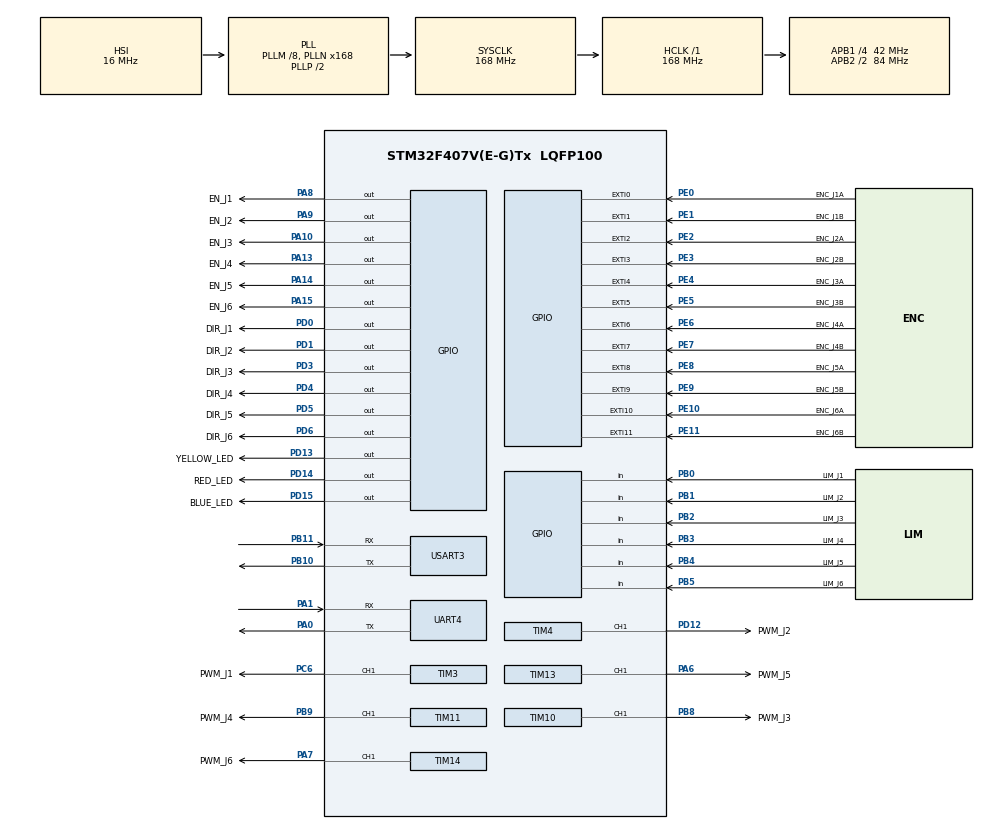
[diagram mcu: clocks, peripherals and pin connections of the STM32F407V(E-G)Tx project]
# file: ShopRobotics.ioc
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PD12.GPIO_Label=PWM_J2
TIM2.Channel-Output\ Compare1\ No\ Output=TIM_CHANNEL_1
PB10.Mode=Asynchronous
PA14.GPIO_Label=EN_J5
TIM10.ClockDivision=TIM_CLOCKDIVISION_DIV1
PC6.GPIO_Label=PWM_J1
PA6.GPIO_Label=PWM_J5
PD6.GPIO_Label=DIR_J6
PE6.GPIO_Label=ENC_J4A
RCC.SYSCLKSource=RCC_SYSCLKSOURCE_PLLCLK
NVIC.EXTI1_IRQn=true\:0\:0\:false\:false\:true\:true\:true
SH.S_TIM14_CH1.0=TIM14_CH1,PWM Generation1 CH1
PD4.Signal=GPIO_Output
RCC.APB2TimFreq_Value=168000000
VP_TIM10_VS_ClockSourceINT.Mode=Enable_Timer
PD0.Signal=GPIO_Output
PE5.Signal=GPXTI5
PE1.Signal=GPXTI1
NVIC.EXTI15_10_IRQn=true\:0\:0\:false\:false\:true\:true\:true
PB2.Signal=GPIO_Input
TIM10.Channel=TIM_CHANNEL_1
PD1.GPIO_Label=DIR_J2
PE8.GPIO_ModeDefaultEXTI=GPIO_MODE_IT_RISING_FALLING
PE9.Signal=GPXTI9
PB1.GPIO_Label=LIM_J2
PE4.GPIO_Label=ENC_J3A
PE2.Signal=GPXTI2
PD14.GPIO_PuPd=GPIO_PULLUP
PA8.Signal=GPIO_Output
PE10.Signal=GPXTI10
TIM11.ClockDivision=TIM_CLOCKDIVISION_DIV1
Mcu.Package=LQFP100
PB9.Signal=S_TIM11_CH1
TIM2.Prescaler=84
PB1.Signal=GPIO_Input
PD12.Signal=S_TIM4_CH1
PA10.Signal=GPIO_Output
PB9.GPIO_PuPd=GPIO_PULLUP
PC6.GPIO_PuPd=GPIO_PULLUP
RCC.APB2CLKDivider=RCC_HCLK_DIV2
NVIC.EXTI2_IRQn=true\:0\:0\:false\:false\:true\:true\:true
SH.S_TIM4_CH1.0=TIM4_CH1,PWM Generation1 CH1
RCC.APB1TimFreq_Value=84000000
VP_TIM14_VS_ClockSourceINT.Mode=Enable_Timer
PA6.GPIO_Speed=GPIO_SPEED_FREQ_HIGH
PE10.GPIO_Label=ENC_J6A
PC6.GPIO_Speed=GPIO_SPEED_FREQ_HIGH
PD15.Signal=GPIO_Output
NVIC.UART4_IRQn=true\:0\:0\:false\:false\:true\:true\:true
NVIC.EXTI4_IRQn=true\:0\:0\:false\:false\:true\:true\:true
TIM3.AutoReloadPreload=TIM_AUTORELOAD_PRELOAD_ENABLE
PA9.GPIO_Label=EN_J2
PD3.Signal=GPIO_Output
PB8.GPIO_PuPd=GPIO_PULLUP
PC6.Signal=S_TIM3_CH1
PD1.Signal=GPIO_Output
TIM11.Prescaler=128
RCC.APB1CLKDivider=RCC_HCLK_DIV4
UART4.VirtualMode=Asynchronous
PA0-WKUP.Signal=UART4_TX
PA0-WKUP.Mode=Asynchronous
PB8.GPIO_Label=PWM_J3
PE10.GPIO_ModeDefaultEXTI=GPIO_MODE_IT_RISING_FALLING
PA8.GPIO_Label=EN_J1
PB11.Mode=Asynchronous
TIM13.Channel=TIM_CHANNEL_1
PE8.GPIO_Label=ENC_J5A
PA9.Signal=GPIO_Output
PE9.GPIO_Label=ENC_J5B
PB10.Signal=USART3_TX
PE1.GPIO_Label=ENC_J1B
PA7.GPIO_Speed=GPIO_SPEED_FREQ_HIGH
VP_TIM13_VS_ClockSourceINT.Mode=Enable_Timer
PA1.Mode=Asynchronous
TIM14.Channel=TIM_CHANNEL_1
PB4.GPIO_Label=LIM_J5
TIM13.Prescaler=64
PE8.Signal=GPXTI8
TIM14.Prescaler=64
PB5.Signal=GPIO_Input
PE5.GPIO_Label=ENC_J3B
ProjectManager.HeapSize=0x200
VP_TIM4_VS_ClockSourceINT.Mode=Internal
NVIC.PriorityGroup=NVIC_PRIORITYGROUP_4
PE3.Signal=GPXTI3
TIM2.AutoReloadPreload=TIM_AUTORELOAD_PRELOAD_ENABLE
PE9.GPIO_ModeDefaultEXTI=GPIO_MODE_IT_RISING_FALLING
PB0.Signal=GPIO_Input
Mcu.Family=STM32F4
NVIC.USART3_IRQn=true\:0\:0\:false\:false\:true\:true\:true
RCC.CortexFreq_Value=168000000
TIM14.AutoReloadPreload=TIM_AUTORELOAD_PRELOAD_ENABLE
PE11.GPIO_Label=ENC_J6B
NVIC.EXTI3_IRQn=true\:0\:0\:false\:false\:true\:true\:true
PD0.GPIO_Label=DIR_J1
PB0.GPIO_Label=LIM_J1
PB11.Signal=USART3_RX
TIM13.AutoReloadPreload=TIM_AUTORELOAD_PRELOAD_ENABLE
SH.S_TIM13_CH1.0=TIM13_CH1,PWM Generation1 CH1
ProjectManager.StackSize=0x400
PD13.Signal=GPIO_Output
PA15.GPIO_Label=EN_J6
RCC.HCLKFreq_Value=168000000
RCC.AHBFreq_Value=168000000
TIM3.Channel-PWM\ Generation1\ CH1=TIM_CHANNEL_1
TIM3.ClockDivision=TIM_CLOCKDIVISION_DIV1
TIM10.AutoReloadPreload=TIM_AUTORELOAD_PRELOAD_ENABLE
RCC.HSE_VALUE=25000000
VP_TIM2_VS_no_output1.Mode=Output Compare1 No Output
PA6.GPIO_PuPd=GPIO_PULLUP
TIM3.Prescaler=64
PA10.GPIO_Label=EN_J3
SH.S_TIM3_CH1.0=TIM3_CH1,PWM Generation1 CH1
PE4.Signal=GPXTI4
PD13.GPIO_Label=YELLOW_LED
PA6.Signal=S_TIM13_CH1
SH.S_TIM10_CH1.0=TIM10_CH1,PWM Generation1 CH1
PD5.GPIO_Label=DIR_J5
PD15.GPIO_PuPd=GPIO_PULLUP
PA15.Signal=GPIO_Output
PE0.GPIO_Label=ENC_J1A
PB9.GPIO_Speed=GPIO_SPEED_FREQ_HIGH
PB5.GPIO_Label=LIM_J6
PD3.GPIO_Label=DIR_J3
PE7.Signal=GPXTI7
PD6.Signal=GPIO_Output
SH.S_TIM11_CH1.0=TIM11_CH1,PWM Generation1 CH1
PE2.GPIO_Label=ENC_J2A
VP_TIM3_VS_ClockSourceINT.Mode=Internal
PB4.Signal=GPIO_Input
PB3.GPIO_Label=LIM_J4
TIM4.Channel-PWM\ Generation1\ CH1=TIM_CHANNEL_1
TIM10.Prescaler=128
TIM4.AutoReloadPreload=TIM_AUTORELOAD_PRELOAD_ENABLE
PD12.GPIO_Speed=GPIO_SPEED_FREQ_HIGH
PD15.GPIO_Label=BLUE_LED
PB9.GPIO_Label=PWM_J4
PD5.Signal=GPIO_Output
VP_TIM11_VS_ClockSourceINT.Mode=Enable_Timer
PA13.Signal=GPIO_Output
PE11.GPIO_ModeDefaultEXTI=GPIO_MODE_IT_RISING_FALLING
ProjectManager.TargetToolchain=STM32CubeIDE
TIM4.Prescaler=64
PE11.Signal=GPXTI11
RCC.LSE_VALUE=32768
PA7.GPIO_PuPd=GPIO_PULLUP
PA1.Signal=UART4_RX
board=custom
RCC.VCOOutputFreq_Value=336000000
RCC.APB2Freq_Value=84000000
VP_TIM2_VS_ClockSourceINT.Mode=Internal
PD4.GPIO_Label=DIR_J4
PE7.GPIO_ModeDefaultEXTI=GPIO_MODE_IT_RISING_FALLING
PD13.GPIO_PuPd=GPIO_PULLUP
PD14.GPIO_Label=RED_LED
PE6.Signal=GPXTI6
Mcu.Name=STM32F407V(E-G)Tx
PE0.Signal=GPXTI0
PE7.GPIO_Label=ENC_J4B
PA13.GPIO_Label=EN_J4
PD14.Signal=GPIO_Output
RCC.48MHZClocksFreq_Value=84000000
PB3.Signal=GPIO_Input
RCC.SYSCLKFreq_VALUE=168000000
PA7.GPIO_Label=PWM_J6
USART3.VirtualMode=VM_ASYNC
NVIC.EXTI9_5_IRQn=true\:0\:0\:false\:false\:true\:true\:true
PA14.Signal=GPIO_Output
PB2.GPIO_Label=LIM_J3
RCC.HSI_VALUE=16000000
TIM11.AutoReloadPreload=TIM_AUTORELOAD_PRELOAD_ENABLE
RCC.PLLM=8
RCC.PLLN=168
TIM11.Channel=TIM_CHANNEL_1
PB8.Signal=S_TIM10_CH1
PE3.GPIO_Label=ENC_J2B
RCC.APB1Freq_Value=42000000
PB8.GPIO_Speed=GPIO_SPEED_FREQ_HIGH
PD12.GPIO_PuPd=GPIO_PULLUP
PA7.Signal=S_TIM14_CH1

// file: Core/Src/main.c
/* USER CODE BEGIN Header */
/**
  ******************************************************************************
  * @file           : main.c
  * @brief          : Main program body
  ******************************************************************************
  * @attention
  *
  * <h2><center>&copy; Copyright (c) 2022 STMicroelectronics.
  * All rights reserved.</center></h2>
  *
  * This software component is licensed by ST under BSD 3-Clause license,
  * the "License"; You may not use this file except in compliance with the
  * License. You may obtain a copy of the License at:
  *                        opensource.org/licenses/BSD-3-Clause
  *
  ******************************************************************************
  */
/* USER CODE END Header */
#include "main.h"

/* USER CODE BEGIN Includes */
#include <stdio.h>
#include <stdbool.h>

#include  <errno.h> // Used in _write
#include  <sys/unistd.h> // STDOUT_FILENO, STDERR_FILENO
#include "hw.h"
#include "log.h"
#include "intent.h"
#include "comms.h"
/* USER CODE END Includes */

TIM_HandleTypeDef htim2;
TIM_HandleTypeDef htim3;
TIM_HandleTypeDef htim4;
TIM_HandleTypeDef htim10;
TIM_HandleTypeDef htim11;
TIM_HandleTypeDef htim13;
TIM_HandleTypeDef htim14;

UART_HandleTypeDef huart4;
UART_HandleTypeDef huart3;

void SystemClock_Config(void);
static void MX_GPIO_Init(void);
static void MX_TIM3_Init(void);
static void MX_TIM4_Init(void);
static void MX_TIM10_Init(void);
static void MX_TIM11_Init(void);
static void MX_TIM13_Init(void);
static void MX_TIM14_Init(void);
static void MX_UART4_Init(void);
static void MX_TIM2_Init(void);
static void MX_USART3_UART_Init(void);
/* USER CODE BEGIN PFP */

// Overrides the weak _write definition in syscalls.c to allow for printf() to uart4.
int _write(int file, char *data, int len) {
   if ((file != STDOUT_FILENO) && (file != STDERR_FILENO)) {
      errno = EBADF;
      return -1;
   }

   // arbitrary timeout 1000
   // This could be done async, but would be more difficult. Hold off until necessary.
   HAL_StatusTypeDef status = HAL_UART_Transmit(&huart4, (uint8_t*)data, len, 1000);

   // return # of bytes written - as best we can tell
   return (status == HAL_OK ? len : 0);
}

#define DIR_PORT GPIOD
const uint16_t DIR_PINS[] = {
		DIR_J1_Pin,
		DIR_J2_Pin,
		DIR_J3_Pin,
		DIR_J4_Pin,
		DIR_J5_Pin,
		DIR_J6_Pin
};
#define LIMIT_PORT GPIOB
const uint16_t LIMIT_PINS[] = {
		LIM_J1_Pin,
		LIM_J2_Pin,
		LIM_J3_Pin,
		LIM_J4_Pin,
		LIM_J5_Pin,
		LIM_J6_Pin
};
#define ENC_PORT GPIOE
const uint16_t ENCA_PINS[] = {
	ENC_J1A_Pin,
	ENC_J2A_Pin,
	ENC_J3A_Pin,
	ENC_J4A_Pin,
	ENC_J5A_Pin,
	ENC_J6A_Pin
};
const uint16_t ENCB_PINS[] = {
	ENC_J1B_Pin,
	ENC_J2B_Pin,
	ENC_J3B_Pin,
	ENC_J4B_Pin,
	ENC_J5B_Pin,
	ENC_J6B_Pin
};
#define EN_PORT GPIOA
const uint16_t EN_PINS[] = {
	EN_J1_Pin,
	EN_J2_Pin,
	EN_J3_Pin,
	EN_J4_Pin,
	EN_J5_Pin,
	EN_J6_Pin,
};

// See https://microcontrollerslab.com/led-blinking-tutorial-stm32f4-discovery-board-gpio-hal-library/
#define LED_PORT GPIOD

void hw_set_dir_and_pwm(uint8_t j, int16_t hz) {
  TIM_HandleTypeDef tmr;
  switch(j) {
    case 0:
      tmr = htim3; // PWM_J1_Pin (500hz)
      break;
    case 1:
      tmr = htim4; // PWM_J2_Pin (600hz)
      break;
    case 2:
      tmr = htim10; // PWM_J3_Pin 0.706ms (700hz)
      break;
    case 3:
      tmr = htim11; // PWM_J4_Pin (0.618ms / 800hz)
      break;
    case 4:
      tmr = htim13; // PWM_J5_Pin (900hz)
      break;
    case 5:
      tmr = htim14; // PWM_J6_Pin (1000hz)
      break;
    default:
      return;
  }
  HAL_TIM_PWM_Stop(&tmr, TIM_CHANNEL_1);
  HAL_GPIO_WritePin(DIR_PORT, DIR_PINS[j], (hz > 0) ? GPIO_PIN_SET : GPIO_PIN_RESET);
  HAL_GPIO_WritePin(EN_PORT, EN_PINS[j], (hz == 0) ? GPIO_PIN_SET : GPIO_PIN_RESET); // Active low
  if (hz < 0) {
    hz = -hz;
  }
  if (hz != 0) {

    //tmr.Instance->PSC = TIM_PSC; // handled on init
    // (PSC+1)*(ARR+1) = TIMclk/Updatefrequency
    uint16_t arr = (TIM_CLK/hz)/(TIM_PSC+1) - 1;
    __HAL_TIM_SET_AUTORELOAD(&tmr, arr);
    __HAL_TIM_SET_COMPARE(&tmr, TIM_CHANNEL_1, arr/2); // 50% duty cycle
    HAL_TIM_PWM_Start(&tmr, TIM_CHANNEL_1);
  }
}

#define BUFLEN 128
uint8_t uart3_out[BUFLEN];
bool uart3_sending = false;
uint8_t* hw_uart_get_write_buffer() {
  return uart3_out;
}
bool hw_uart_send(uint8_t len) {
  if (BUFLEN < len || uart3_sending) {
    return false;
  }
  uart3_sending = true;
  HAL_UART_Transmit_IT(&huart3, uart3_out, len);
  // HAL_UART_Transmit(&huart3, uart3_out, len, 200);
  //uart3_sending = false;
  return true;
}

bool hw_uart_busy() {
  return uart3_sending;
}

void HAL_UART_TxCpltCallback(UART_HandleTypeDef *huart) {
  if (huart == &huart3) {
    uart3_sending = false;
  }
}

#define PACKET_HEADER_SZ 2
#define UART3_FRAGMENT_LEN ((INTENT_PACKET_SZ+PACKET_HEADER_SZ)/4)
uint8_t uart3_recv_buf[2*INTENT_PACKET_SZ+PACKET_HEADER_SZ];
uint8_t uart3_fragment_buf[UART3_FRAGMENT_LEN];
uint8_t hw_idx = 0;
uint8_t hw_readlen = 0;

void uart3_listen() {
	HAL_UART_Receive_IT(&huart3, uart3_fragment_buf, UART3_FRAGMENT_LEN);
}
static int ncallbacks = 0;
void HAL_UART_RxCpltCallback(UART_HandleTypeDef *huart) {
  ncallbacks++;
  HAL_GPIO_TogglePin(LED_PORT, BLUE_LED_Pin);
  uint8_t c;
  for (int f = 0; f < UART3_FRAGMENT_LEN; f++) {
    c = uart3_fragment_buf[f];
    if (c == PACKET_START_BYTE) {
      // Magic byte, next byte is length
      hw_idx=0;
      hw_readlen=0;
      continue;
    }
    if (hw_idx == -1) {
      // Skip other bytes until we've processed a start byte
      continue;
    }
    if (hw_readlen == 0) {
      // NOTE: Max length is 255 characters
      hw_readlen = c;
      if (hw_readlen > INTENT_PACKET_SZ+PACKET_HEADER_SZ) {
    	hw_idx=-1;
      }
      continue;
    }
    uart3_recv_buf[hw_idx++] = c;
    if (hw_idx == hw_readlen) {
      on_message(uart3_recv_buf, hw_idx);
      hw_idx = -1;
    } else if (hw_idx >= BUFLEN) {
      hw_idx = -1;
      // TODO overrun warning indicator
    }
  }
  uart3_listen();
}

// See https://electronics.stackexchange.com/a/99949
/*
 *               CW --->
 * A (IRQ  )  ¯|___|¯¯¯¯|___|¯¯¯¯
 * Interrupts  ^   ^    ^   ^
 * B (IRQ   ) ¯¯¯|___|¯¯¯¯¯|___|¯
 * Interrupts    ^   ^     ^   ^
                  CCW <---
 */
const int8_t encoder_add_sub[] = {
		 0, // 00 -> 00, no-op
		 1, // 00 -> 01, forwards
		-1, // 00 -> 10, backwards
		 0, // 00 -> 11, illegal (2x transition)
		-1, // 01 -> 00, backwards
		 0, // 01 -> 01, no-op
		 0, // 01 -> 10, illegal (2x transition)
		 1, // 01 -> 11, forwards
		 1, // 10 -> 00, forwards
		 0, // 10 -> 01, illegal (2x transition)
		 0, // 10 -> 10, no-op
		-1, // 10 -> 11, backwards
		 0, // 11 -> 00, illegal (2x transition)
		-1, // 11 -> 01, backwards
		 1, // 11 -> 10, forwards
		 0, // 11 -> 11, no-op
};
uint16_t encoder_pos[NUM_J];
uint8_t encoder_idx[NUM_J];
void HAL_GPIO_EXTI_Callback(uint16_t GPIO_Pin) {
	uint8_t j = 0;
	uint16_t data = ENC_PORT->IDR;
	uint16_t pin1;
	uint16_t pin2;
	switch (GPIO_Pin) {
	case ENC_J1A_Pin:
	case ENC_J1B_Pin:
		j = 0; pin1 = ENC_J1A_Pin; pin2 = ENC_J1B_Pin;
		break;
	case ENC_J2A_Pin:
	case ENC_J2B_Pin:
		j = 1; pin1 = ENC_J2A_Pin; pin2 = ENC_J2B_Pin;
		break;
	case ENC_J3A_Pin:
	case ENC_J3B_Pin:
		j = 2; pin1 = ENC_J3A_Pin; pin2 = ENC_J3B_Pin;
		break;
	case ENC_J4A_Pin:
	case ENC_J4B_Pin:
		j = 3; pin1 = ENC_J4A_Pin; pin2 = ENC_J4B_Pin;
		break;
	case ENC_J5A_Pin:
	case ENC_J5B_Pin:
		j = 4; pin1 = ENC_J5A_Pin; pin2 = ENC_J5B_Pin;
		break;
	case ENC_J6A_Pin:
	case ENC_J6B_Pin:
		j = 5; pin1 = ENC_J6A_Pin; pin2 = ENC_J6B_Pin;
		break;
	default:
		return;
	}
	encoder_idx[j] = ((encoder_idx[j]<<2) & 0x0F) + ((!!(data & pin1)) << 1) + (!!(data & pin2));
	encoder_pos[j]= encoder_pos[j]+encoder_add_sub[encoder_idx[j]];
}
uint16_t hw_enc_read(uint8_t j) {
	return encoder_pos[j];
}

uint8_t hw_limits_read() {
  uint16_t data = LIMIT_PORT->IDR;
  uint8_t result = 0;
  for (int j = 0; j < NUM_J; j++) {
	  result |= (!!(data & LIMIT_PINS[j])) << j;
  }
  return result;
}

uint8_t last_limit = 0;
void check_limits() {
	uint8_t limits = hw_limits_read();
	if (limits != last_limit) {
		on_limits_changed();
	}
}

// Note that the micros value is NOT uint64_t - overflows every ~71 minutes
uint32_t hw_micros() {
  return TIM2->CNT;
}

void setup();
void loop();

#define TEST_ROUTINE 1
void run_test_routine(int step) {
	// Set PWM outputs (different values to show all are configured)
	int dir = 0;
	if (step == 1) dir = 1;
	else if (step == 3) dir = -1;

	for (int j = 0; j < NUM_J; j++) {
		hw_set_dir_and_pwm(j, dir * (500 + 100*j));
	}

	// Read limits
	uint8_t limits = hw_limits_read();

	// Read encoders
	uint16_t enc_data = ENC_PORT->IDR;
	char encA[NUM_J+1];
	char encB[NUM_J+1];
	char lim[NUM_J+1];
	for (int j = 0; j < NUM_J; j++) {
		encA[j] = (enc_data & ENCA_PINS[j]) ? '1' : '0';
		encB[j] = (enc_data & ENCB_PINS[j]) ? '1' : '0';
		lim[j] = (limits & (1 << j)) ? '1' : '0';
	}
	encA[NUM_J] = '\0';
	encB[NUM_J] = '\0';
	lim[NUM_J] = '\0';
	printf("TEST%d LIM=%s ENCA=%s ENCB=%s\r\n", (dir > 0) ? 1 : 0, lim, encA, encB);
}

/* USER CODE END PFP */

/* USER CODE BEGIN 0 */

uint8_t Test2[128]; //Data to send

/* USER CODE END 0 */

int main(void)
{

  /* MCU Configuration--------------------------------------------------------*/

  /* Reset of all peripherals, Initializes the Flash interface and the Systick. */
  HAL_Init();

  /* Configure the system clock */
  SystemClock_Config();

  /* Initialize all configured peripherals */
  MX_GPIO_Init();
  MX_TIM3_Init();
  MX_TIM4_Init();
  MX_TIM10_Init();
  MX_TIM11_Init();
  MX_TIM13_Init();
  MX_TIM14_Init();
  MX_UART4_Init();
  MX_TIM2_Init();
  MX_USART3_UART_Init();
  /* USER CODE BEGIN 2 */

  // Start our microsecond counter
  HAL_TIM_Base_Start(&htim2);

  // Begin interrupt-based uart read
  uart3_listen();

  // Continue with regular initialization
  setup();
#ifdef TEST_ROUTINE
  int test_step = 1;
#endif

  /* USER CODE END 2 */

  /* Infinite loop */
  /* USER CODE BEGIN WHILE */
  while (1) {

#ifdef TEST_ROUTINE
	  test_step = (test_step + 1) % 4;
	run_test_routine(test_step);
	HAL_Delay(500);
#else
	check_limits();
	loop();
#endif

    /* USER CODE END WHILE */

  }
}

void SystemClock_Config(void)
{
  RCC_OscInitTypeDef RCC_OscInitStruct = {0};
  RCC_ClkInitTypeDef RCC_ClkInitStruct = {0};

  /** Configure the main internal regulator output voltage
  */
  __HAL_RCC_PWR_CLK_ENABLE();
  __HAL_PWR_VOLTAGESCALING_CONFIG(PWR_REGULATOR_VOLTAGE_SCALE1);
  /** Initializes the RCC Oscillators according to the specified parameters
  * in the RCC_OscInitTypeDef structure.
  */
  RCC_OscInitStruct.OscillatorType = RCC_OSCILLATORTYPE_HSI;
  RCC_OscInitStruct.HSIState = RCC_HSI_ON;
  RCC_OscInitStruct.HSICalibrationValue = RCC_HSICALIBRATION_DEFAULT;
  RCC_OscInitStruct.PLL.PLLState = RCC_PLL_ON;
  RCC_OscInitStruct.PLL.PLLSource = RCC_PLLSOURCE_HSI;
  RCC_OscInitStruct.PLL.PLLM = 8;
  RCC_OscInitStruct.PLL.PLLN = 168;
  RCC_OscInitStruct.PLL.PLLP = RCC_PLLP_DIV2;
  RCC_OscInitStruct.PLL.PLLQ = 4;
  if (HAL_RCC_OscConfig(&RCC_OscInitStruct) != HAL_OK)
  {
    Error_Handler();
  }
  /** Initializes the CPU, AHB and APB buses clocks
  */
  RCC_ClkInitStruct.ClockType = RCC_CLOCKTYPE_HCLK|RCC_CLOCKTYPE_SYSCLK
                              |RCC_CLOCKTYPE_PCLK1|RCC_CLOCKTYPE_PCLK2;
  RCC_ClkInitStruct.SYSCLKSource = RCC_SYSCLKSOURCE_PLLCLK;
  RCC_ClkInitStruct.AHBCLKDivider = RCC_SYSCLK_DIV1;
  RCC_ClkInitStruct.APB1CLKDivider = RCC_HCLK_DIV4;
  RCC_ClkInitStruct.APB2CLKDivider = RCC_HCLK_DIV2;

  if (HAL_RCC_ClockConfig(&RCC_ClkInitStruct, FLASH_LATENCY_5) != HAL_OK)
  {
    Error_Handler();
  }
}

static void MX_TIM2_Init(void)
{

  TIM_ClockConfigTypeDef sClockSourceConfig = {0};
  TIM_MasterConfigTypeDef sMasterConfig = {0};
  TIM_OC_InitTypeDef sConfigOC = {0};

  htim2.Instance = TIM2;
  htim2.Init.Prescaler = 84;
  htim2.Init.CounterMode = TIM_COUNTERMODE_UP;
  htim2.Init.Period = 4294967295;
  htim2.Init.ClockDivision = TIM_CLOCKDIVISION_DIV1;
  htim2.Init.AutoReloadPreload = TIM_AUTORELOAD_PRELOAD_ENABLE;
  if (HAL_TIM_Base_Init(&htim2) != HAL_OK)
  {
    Error_Handler();
  }
  sClockSourceConfig.ClockSource = TIM_CLOCKSOURCE_INTERNAL;
  if (HAL_TIM_ConfigClockSource(&htim2, &sClockSourceConfig) != HAL_OK)
  {
    Error_Handler();
  }
  if (HAL_TIM_OC_Init(&htim2) != HAL_OK)
  {
    Error_Handler();
  }
  sMasterConfig.MasterOutputTrigger = TIM_TRGO_RESET;
  sMasterConfig.MasterSlaveMode = TIM_MASTERSLAVEMODE_DISABLE;
  if (HAL_TIMEx_MasterConfigSynchronization(&htim2, &sMasterConfig) != HAL_OK)
  {
    Error_Handler();
  }
  sConfigOC.OCMode = TIM_OCMODE_TIMING;
  sConfigOC.Pulse = 0;
  sConfigOC.OCPolarity = TIM_OCPOLARITY_HIGH;
  sConfigOC.OCFastMode = TIM_OCFAST_DISABLE;
  if (HAL_TIM_OC_ConfigChannel(&htim2, &sConfigOC, TIM_CHANNEL_1) != HAL_OK)
  {
    Error_Handler();
  }

}

static void MX_TIM3_Init(void)
{

  TIM_ClockConfigTypeDef sClockSourceConfig = {0};
  TIM_MasterConfigTypeDef sMasterConfig = {0};
  TIM_OC_InitTypeDef sConfigOC = {0};

  htim3.Instance = TIM3;
  htim3.Init.Prescaler = 64;
  htim3.Init.CounterMode = TIM_COUNTERMODE_UP;
  htim3.Init.Period = 65535;
  htim3.Init.ClockDivision = TIM_CLOCKDIVISION_DIV1;
  htim3.Init.AutoReloadPreload = TIM_AUTORELOAD_PRELOAD_ENABLE;
  if (HAL_TIM_Base_Init(&htim3) != HAL_OK)
  {
    Error_Handler();
  }
  sClockSourceConfig.ClockSource = TIM_CLOCKSOURCE_INTERNAL;
  if (HAL_TIM_ConfigClockSource(&htim3, &sClockSourceConfig) != HAL_OK)
  {
    Error_Handler();
  }
  if (HAL_TIM_PWM_Init(&htim3) != HAL_OK)
  {
    Error_Handler();
  }
  sMasterConfig.MasterOutputTrigger = TIM_TRGO_RESET;
  sMasterConfig.MasterSlaveMode = TIM_MASTERSLAVEMODE_DISABLE;
  if (HAL_TIMEx_MasterConfigSynchronization(&htim3, &sMasterConfig) != HAL_OK)
  {
    Error_Handler();
  }
  sConfigOC.OCMode = TIM_OCMODE_PWM1;
  sConfigOC.Pulse = 0;
  sConfigOC.OCPolarity = TIM_OCPOLARITY_HIGH;
  sConfigOC.OCFastMode = TIM_OCFAST_DISABLE;
  if (HAL_TIM_PWM_ConfigChannel(&htim3, &sConfigOC, TIM_CHANNEL_1) != HAL_OK)
  {
    Error_Handler();
  }
  HAL_TIM_MspPostInit(&htim3);

}

static void MX_TIM4_Init(void)
{

  TIM_ClockConfigTypeDef sClockSourceConfig = {0};
  TIM_MasterConfigTypeDef sMasterConfig = {0};
  TIM_OC_InitTypeDef sConfigOC = {0};

  htim4.Instance = TIM4;
  htim4.Init.Prescaler = 64;
  htim4.Init.CounterMode = TIM_COUNTERMODE_UP;
  htim4.Init.Period = 65535;
  htim4.Init.ClockDivision = TIM_CLOCKDIVISION_DIV1;
  htim4.Init.AutoReloadPreload = TIM_AUTORELOAD_PRELOAD_ENABLE;
  if (HAL_TIM_Base_Init(&htim4) != HAL_OK)
  {
    Error_Handler();
  }
  sClockSourceConfig.ClockSource = TIM_CLOCKSOURCE_INTERNAL;
  if (HAL_TIM_ConfigClockSource(&htim4, &sClockSourceConfig) != HAL_OK)
  {
    Error_Handler();
  }
  if (HAL_TIM_PWM_Init(&htim4) != HAL_OK)
  {
    Error_Handler();
  }
  sMasterConfig.MasterOutputTrigger = TIM_TRGO_RESET;
  sMasterConfig.MasterSlaveMode = TIM_MASTERSLAVEMODE_DISABLE;
  if (HAL_TIMEx_MasterConfigSynchronization(&htim4, &sMasterConfig) != HAL_OK)
  {
    Error_Handler();
  }
  sConfigOC.OCMode = TIM_OCMODE_PWM1;
  sConfigOC.Pulse = 0;
  sConfigOC.OCPolarity = TIM_OCPOLARITY_HIGH;
  sConfigOC.OCFastMode = TIM_OCFAST_DISABLE;
  if (HAL_TIM_PWM_ConfigChannel(&htim4, &sConfigOC, TIM_CHANNEL_1) != HAL_OK)
  {
    Error_Handler();
  }
  HAL_TIM_MspPostInit(&htim4);

}

static void MX_TIM10_Init(void)
{

  TIM_OC_InitTypeDef sConfigOC = {0};

  htim10.Instance = TIM10;
  htim10.Init.Prescaler = 128;
  htim10.Init.CounterMode = TIM_COUNTERMODE_UP;
  htim10.Init.Period = 65535;
  htim10.Init.ClockDivision = TIM_CLOCKDIVISION_DIV1;
  htim10.Init.AutoReloadPreload = TIM_AUTORELOAD_PRELOAD_ENABLE;
  if (HAL_TIM_Base_Init(&htim10) != HAL_OK)
  {
    Error_Handler();
  }
  if (HAL_TIM_PWM_Init(&htim10) != HAL_OK)
  {
    Error_Handler();
  }
  sConfigOC.OCMode = TIM_OCMODE_PWM1;
  sConfigOC.Pulse = 0;
  sConfigOC.OCPolarity = TIM_OCPOLARITY_HIGH;
  sConfigOC.OCFastMode = TIM_OCFAST_DISABLE;
  if (HAL_TIM_PWM_ConfigChannel(&htim10, &sConfigOC, TIM_CHANNEL_1) != HAL_OK)
  {
    Error_Handler();
  }
  HAL_TIM_MspPostInit(&htim10);

}

static void MX_TIM11_Init(void)
{

  TIM_OC_InitTypeDef sConfigOC = {0};

  htim11.Instance = TIM11;
  htim11.Init.Prescaler = 128;
  htim11.Init.CounterMode = TIM_COUNTERMODE_UP;
  htim11.Init.Period = 65535;
  htim11.Init.ClockDivision = TIM_CLOCKDIVISION_DIV1;
  htim11.Init.AutoReloadPreload = TIM_AUTORELOAD_PRELOAD_ENABLE;
  if (HAL_TIM_Base_Init(&htim11) != HAL_OK)
  {
    Error_Handler();
  }
  if (HAL_TIM_PWM_Init(&htim11) != HAL_OK)
  {
    Error_Handler();
  }
  sConfigOC.OCMode = TIM_OCMODE_PWM1;
  sConfigOC.Pulse = 0;
  sConfigOC.OCPolarity = TIM_OCPOLARITY_HIGH;
  sConfigOC.OCFastMode = TIM_OCFAST_DISABLE;
  if (HAL_TIM_PWM_ConfigChannel(&htim11, &sConfigOC, TIM_CHANNEL_1) != HAL_OK)
  {
    Error_Handler();
  }
  HAL_TIM_MspPostInit(&htim11);

}

static void MX_TIM13_Init(void)
{

  TIM_OC_InitTypeDef sConfigOC = {0};

  htim13.Instance = TIM13;
  htim13.Init.Prescaler = 64;
  htim13.Init.CounterMode = TIM_COUNTERMODE_UP;
  htim13.Init.Period = 65535;
  htim13.Init.ClockDivision = TIM_CLOCKDIVISION_DIV1;
  htim13.Init.AutoReloadPreload = TIM_AUTORELOAD_PRELOAD_ENABLE;
  if (HAL_TIM_Base_Init(&htim13) != HAL_OK)
  {
    Error_Handler();
  }
  if (HAL_TIM_PWM_Init(&htim13) != HAL_OK)
  {
    Error_Handler();
  }
  sConfigOC.OCMode = TIM_OCMODE_PWM1;
  sConfigOC.Pulse = 0;
  sConfigOC.OCPolarity = TIM_OCPOLARITY_HIGH;
  sConfigOC.OCFastMode = TIM_OCFAST_DISABLE;
  if (HAL_TIM_PWM_ConfigChannel(&htim13, &sConfigOC, TIM_CHANNEL_1) != HAL_OK)
  {
    Error_Handler();
  }
  HAL_TIM_MspPostInit(&htim13);

}

static void MX_TIM14_Init(void)
{

  TIM_OC_InitTypeDef sConfigOC = {0};

  htim14.Instance = TIM14;
  htim14.Init.Prescaler = 64;
  htim14.Init.CounterMode = TIM_COUNTERMODE_UP;
  htim14.Init.Period = 65535;
  htim14.Init.ClockDivision = TIM_CLOCKDIVISION_DIV1;
  htim14.Init.AutoReloadPreload = TIM_AUTORELOAD_PRELOAD_ENABLE;
  if (HAL_TIM_Base_Init(&htim14) != HAL_OK)
  {
    Error_Handler();
  }
  if (HAL_TIM_PWM_Init(&htim14) != HAL_OK)
  {
    Error_Handler();
  }
  sConfigOC.OCMode = TIM_OCMODE_PWM1;
  sConfigOC.Pulse = 0;
  sConfigOC.OCPolarity = TIM_OCPOLARITY_HIGH;
  sConfigOC.OCFastMode = TIM_OCFAST_DISABLE;
  if (HAL_TIM_PWM_ConfigChannel(&htim14, &sConfigOC, TIM_CHANNEL_1) != HAL_OK)
  {
    Error_Handler();
  }
  HAL_TIM_MspPostInit(&htim14);

}

static void MX_UART4_Init(void)
{

  huart4.Instance = UART4;
  huart4.Init.BaudRate = 115200;
  huart4.Init.WordLength = UART_WORDLENGTH_8B;
  huart4.Init.StopBits = UART_STOPBITS_1;
  huart4.Init.Parity = UART_PARITY_NONE;
  huart4.Init.Mode = UART_MODE_TX_RX;
  huart4.Init.HwFlowCtl = UART_HWCONTROL_NONE;
  huart4.Init.OverSampling = UART_OVERSAMPLING_16;
  if (HAL_UART_Init(&huart4) != HAL_OK)
  {
    Error_Handler();
  }

}

static void MX_USART3_UART_Init(void)
{

  huart3.Instance = USART3;
  huart3.Init.BaudRate = 115200;
  huart3.Init.WordLength = UART_WORDLENGTH_8B;
  huart3.Init.StopBits = UART_STOPBITS_1;
  huart3.Init.Parity = UART_PARITY_NONE;
  huart3.Init.Mode = UART_MODE_TX_RX;
  huart3.Init.HwFlowCtl = UART_HWCONTROL_NONE;
  huart3.Init.OverSampling = UART_OVERSAMPLING_16;
  if (HAL_UART_Init(&huart3) != HAL_OK)
  {
    Error_Handler();
  }

}

static void MX_GPIO_Init(void)
{
  GPIO_InitTypeDef GPIO_InitStruct = {0};

  /* GPIO Ports Clock Enable */
  __HAL_RCC_GPIOE_CLK_ENABLE();
  __HAL_RCC_GPIOA_CLK_ENABLE();
  __HAL_RCC_GPIOB_CLK_ENABLE();
  __HAL_RCC_GPIOD_CLK_ENABLE();
  __HAL_RCC_GPIOC_CLK_ENABLE();

  /*Configure GPIO pin Output Level */
  HAL_GPIO_WritePin(GPIOD, YELLOW_LED_Pin|RED_LED_Pin|BLUE_LED_Pin|DIR_J1_Pin
                          |DIR_J2_Pin|DIR_J3_Pin|DIR_J4_Pin|DIR_J5_Pin
                          |DIR_J6_Pin, GPIO_PIN_RESET);

  /*Configure GPIO pin Output Level */
  HAL_GPIO_WritePin(GPIOA, EN_J1_Pin|EN_J2_Pin|EN_J3_Pin|EN_J4_Pin
                          |EN_J5_Pin|EN_J6_Pin, GPIO_PIN_RESET);

  /*Configure GPIO pins : ENC_J2A_Pin ENC_J2B_Pin ENC_J3A_Pin ENC_J3B_Pin
                           ENC_J4A_Pin ENC_J1A_Pin ENC_J1B_Pin */
  GPIO_InitStruct.Pin = ENC_J2A_Pin|ENC_J2B_Pin|ENC_J3A_Pin|ENC_J3B_Pin
                          |ENC_J4A_Pin|ENC_J1A_Pin|ENC_J1B_Pin;
  GPIO_InitStruct.Mode = GPIO_MODE_IT_RISING;
  GPIO_InitStruct.Pull = GPIO_NOPULL;
  HAL_GPIO_Init(GPIOE, &GPIO_InitStruct);

  /*Configure GPIO pins : LIM_J1_Pin LIM_J2_Pin LIM_J3_Pin LIM_J4_Pin
                           LIM_J5_Pin LIM_J6_Pin */
  GPIO_InitStruct.Pin = LIM_J1_Pin|LIM_J2_Pin|LIM_J3_Pin|LIM_J4_Pin
                          |LIM_J5_Pin|LIM_J6_Pin;
  GPIO_InitStruct.Mode = GPIO_MODE_INPUT;
  GPIO_InitStruct.Pull = GPIO_NOPULL;
  HAL_GPIO_Init(GPIOB, &GPIO_InitStruct);

  /*Configure GPIO pins : ENC_J4B_Pin ENC_J5A_Pin ENC_J5B_Pin ENC_J6A_Pin
                           ENC_J6B_Pin */
  GPIO_InitStruct.Pin = ENC_J4B_Pin|ENC_J5A_Pin|ENC_J5B_Pin|ENC_J6A_Pin
                          |ENC_J6B_Pin;
  GPIO_InitStruct.Mode = GPIO_MODE_IT_RISING_FALLING;
  GPIO_InitStruct.Pull = GPIO_NOPULL;
  HAL_GPIO_Init(GPIOE, &GPIO_InitStruct);

  /*Configure GPIO pins : YELLOW_LED_Pin RED_LED_Pin BLUE_LED_Pin */
  GPIO_InitStruct.Pin = YELLOW_LED_Pin|RED_LED_Pin|BLUE_LED_Pin;
  GPIO_InitStruct.Mode = GPIO_MODE_OUTPUT_PP;
  GPIO_InitStruct.Pull = GPIO_PULLUP;
  GPIO_InitStruct.Speed = GPIO_SPEED_FREQ_LOW;
  HAL_GPIO_Init(GPIOD, &GPIO_InitStruct);

  /*Configure GPIO pins : EN_J1_Pin EN_J2_Pin EN_J3_Pin EN_J4_Pin
                           EN_J5_Pin EN_J6_Pin */
  GPIO_InitStruct.Pin = EN_J1_Pin|EN_J2_Pin|EN_J3_Pin|EN_J4_Pin
                          |EN_J5_Pin|EN_J6_Pin;
  GPIO_InitStruct.Mode = GPIO_MODE_OUTPUT_PP;
  GPIO_InitStruct.Pull = GPIO_NOPULL;
  GPIO_InitStruct.Speed = GPIO_SPEED_FREQ_LOW;
  HAL_GPIO_Init(GPIOA, &GPIO_InitStruct);

  /*Configure GPIO pins : DIR_J1_Pin DIR_J2_Pin DIR_J3_Pin DIR_J4_Pin
                           DIR_J5_Pin DIR_J6_Pin */
  GPIO_InitStruct.Pin = DIR_J1_Pin|DIR_J2_Pin|DIR_J3_Pin|DIR_J4_Pin
                          |DIR_J5_Pin|DIR_J6_Pin;
  GPIO_InitStruct.Mode = GPIO_MODE_OUTPUT_PP;
  GPIO_InitStruct.Pull = GPIO_NOPULL;
  GPIO_InitStruct.Speed = GPIO_SPEED_FREQ_LOW;
  HAL_GPIO_Init(GPIOD, &GPIO_InitStruct);

  /* EXTI interrupt init*/
  HAL_NVIC_SetPriority(EXTI1_IRQn, 0, 0);
  HAL_NVIC_EnableIRQ(EXTI1_IRQn);

  HAL_NVIC_SetPriority(EXTI2_IRQn, 0, 0);
  HAL_NVIC_EnableIRQ(EXTI2_IRQn);

  HAL_NVIC_SetPriority(EXTI3_IRQn, 0, 0);
  HAL_NVIC_EnableIRQ(EXTI3_IRQn);

  HAL_NVIC_SetPriority(EXTI4_IRQn, 0, 0);
  HAL_NVIC_EnableIRQ(EXTI4_IRQn);

  HAL_NVIC_SetPriority(EXTI9_5_IRQn, 0, 0);
  HAL_NVIC_EnableIRQ(EXTI9_5_IRQn);

  HAL_NVIC_SetPriority(EXTI15_10_IRQn, 0, 0);
  HAL_NVIC_EnableIRQ(EXTI15_10_IRQn);

}

void Error_Handler(void)
{
  /* USER CODE BEGIN Error_Handler_Debug */
  HAL_GPIO_TogglePin(LED_PORT, RED_LED_Pin);
  /* User can add his own implementation to report the HAL error return state */
  __disable_irq();
  while (1)
  {
  }
  /* USER CODE END Error_Handler_Debug */
}

/************************ (C) COPYRIGHT STMicroelectronics *****END OF FILE****/
